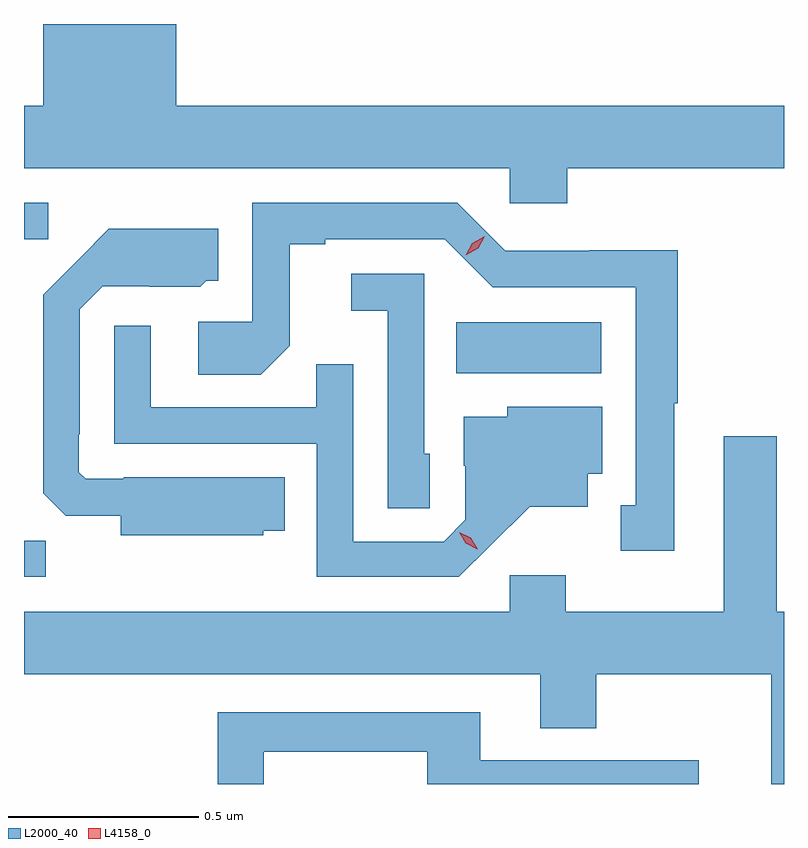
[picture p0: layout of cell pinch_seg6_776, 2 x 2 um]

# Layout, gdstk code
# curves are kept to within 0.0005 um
import gdstk
lib = gdstk.Library(unit=1e-6, precision=1e-09)
def R(c, l, rs):  # rectangles x0, y0, x1, y1
    for r in rs: c.add(gdstk.rectangle(r[:2], r[2:], *l))
def P(c, l, *ps):  # polygons
    for p in ps: c.add(gdstk.Polygon(p, *l))
L2000_40 = (2000, 40)
L4158_0 = (4158, 0)

pinch_seg6_776 = lib.new_cell('pinch_seg6_776')
R(pinch_seg6_776, L2000_40, [(613.086,938.268,613.143,938.363), (614.224,938.804,614.605,938.938), (613.086,939.156,613.15,939.252)])
P(pinch_seg6_776, L2000_40, [(614.516,939.344),(615.086,939.344),(615.086,939.508),(613.486,939.508),(613.486,939.723),(613.136,939.723),(613.136,939.508),(613.086,939.508),(613.086,939.344),(614.364,939.344),(614.364,939.251),(614.516,939.251)],
  [(614.797,938.725),(614.807,938.725),(614.807,939.128),(614.574,939.128),(614.574,939.126),(614.352,939.126),(614.226,939.252),(613.686,939.252),(613.686,938.94),(613.545,938.94),(613.545,938.8),(613.709,938.8),(613.785,938.876),(613.785,939.144),(613.879,939.144),(613.879,939.156),(614.193,939.156),(614.319,939.03),(614.696,939.03),(614.696,938.457),(614.657,938.457),(614.657,938.337),(614.797,938.337)],
  [(613.716,938.39),(613.772,938.39),(613.772,938.53),(613.348,938.53),(613.348,938.526),(613.248,938.526),(613.23,938.544),(613.23,938.644),(613.233,938.644),(613.233,938.973),(613.293,939.033),(613.416,939.033),(613.416,939.032),(613.55,939.032),(613.566,939.048),(613.597,939.048),(613.597,939.184),(613.309,939.184),(613.137,939.01),(613.137,938.488),(613.196,938.429),(613.34,938.429),(613.34,938.378),(613.716,938.378)],
  [(614.154,938.592),(614.139,938.592),(614.139,939.066),(613.947,939.066),(613.947,938.969),(614.043,938.969),(614.043,938.449),(614.154,938.449)],
  [(614.314,938.351),(614.417,938.453),(614.569,938.453),(614.569,938.54),(614.608,938.54),(614.608,938.716),(614.358,938.716),(614.358,938.689),(614.243,938.689),(614.243,938.56),(614.247,938.56),(614.247,938.418),(614.19,938.361),(613.953,938.361),(613.953,938.828),(613.855,938.828),(613.855,938.715),(613.419,938.715),(613.419,938.929),(613.323,938.929),(613.323,938.619),(613.857,938.619),(613.857,938.268),(614.23,938.268)],
  [(614.511,938.272),(614.364,938.272),(614.364,938.176),(613.086,938.176),(613.086,938.012),(614.444,938.012),(614.444,937.87),(614.592,937.87),(614.592,938.012),(615.053,938.012),(615.053,937.723),(615.086,937.723),(615.086,938.176),(615.067,938.176),(615.067,938.638),(614.927,938.638),(614.927,938.176),(614.511,938.176)],
  [(613.717,937.808),(614.147,937.808),(614.147,937.723),(614.861,937.723),(614.861,937.785),(614.287,937.785),(614.287,937.912),(613.596,937.912),(613.596,937.723),(613.717,937.723)])
P(pinch_seg6_776, L4158_0, [(614.249,939.114),(614.249,939.114),(614.266,939.146),(614.298,939.165),(614.298,939.165),(614.298,939.165),(614.281,939.133),(614.249,939.114)],
  [(614.279,938.341),(614.249,938.356),(614.231,938.386),(614.231,938.386),(614.232,938.386),(614.262,938.371),(614.28,938.341),(614.28,938.341)])

lib.write_gds('pinch_seg6_776.gds')
